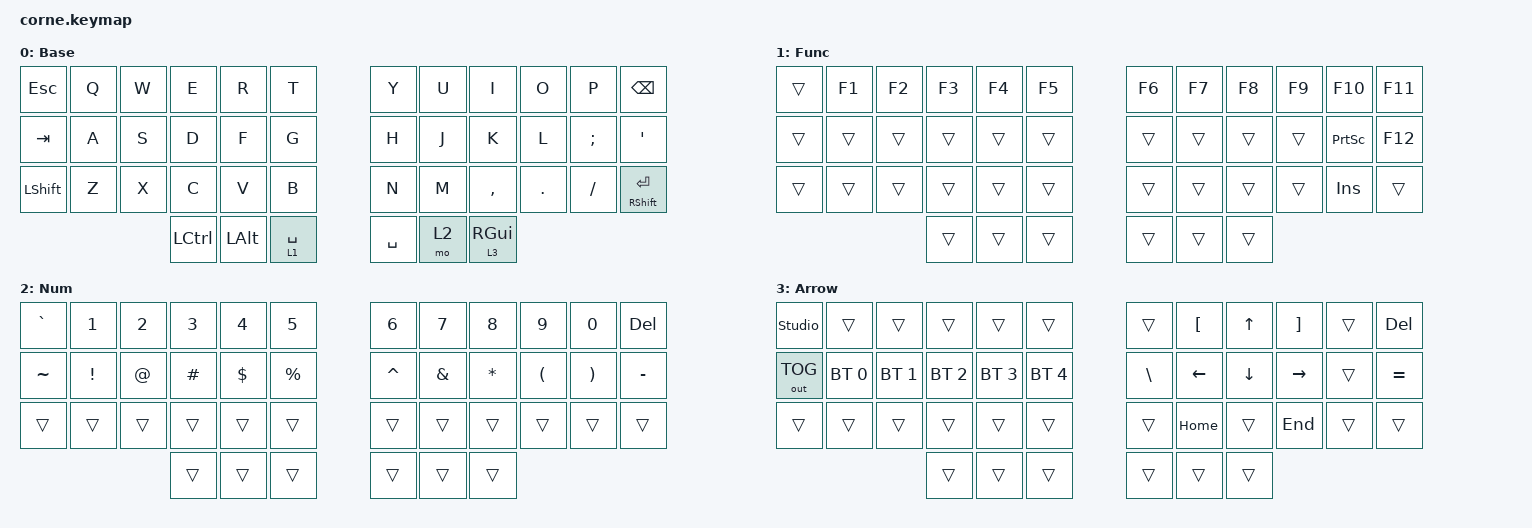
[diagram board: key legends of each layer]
/*
 * Copyright (c) 2020 The ZMK Contributors
 *
 * SPDX-License-Identifier: MIT
 */

#include <behaviors.dtsi>
#include <dt-bindings/zmk/bt.h>
#include <dt-bindings/zmk/keys.h>
#include <dt-bindings/zmk/outputs.h>

&mt {
    tapping-term-ms = <130>; // 200 default
};

&lt {
    tapping-term-ms = <130>; // 200 default
};

/ {
    keymap {
        compatible = "zmk,keymap";

        default_layer {
            // -----------------------------------------------------------------------------------------
            // |  TAB |  Q  |  W  |  E  |  R  |  T  |   |  Y  |  U   |  I  |  O  |  P  | BKSP |
            // | CTRL |  A  |  S  |  D  |  F  |  G  |   |  H  |  J   |  K  |  L  |  ;  |  '   |
            // | SHFT |  Z  |  X  |  C  |  V  |  B  |   |  N  |  M   |  ,  |  .  |  /  | ESC  |
            //                    | GUI | LWR | SPC |   | ENT | RSE  | ALT |

            display-name = "Base";
            bindings = <
&kp ESC    &kp Q  &kp W  &kp E             &kp R         &kp T          &kp Y      &kp U  &kp I            &kp O    &kp P     &kp BSPC
&kp TAB    &kp A  &kp S  &kp D             &kp F         &kp G          &kp H      &kp J  &kp K            &kp L    &kp SEMI  &kp SQT
&kp LSHFT  &kp Z  &kp X  &kp C             &kp V         &kp B          &kp N      &kp M  &kp COMMA        &kp DOT  &kp FSLH  &mt RIGHT_SHIFT ENTER
                         &kp LEFT_CONTROL  &kp LEFT_ALT  &lt 1 SPACE    &kp SPACE  &mo 2  &lt 3 RIGHT_GUI
            >;
        };

        lower_layer {
            // -----------------------------------------------------------------------------------------
            // |  TAB |  1  |  2  |  3  |  4  |  5  |   |  6  |  7  |  8  |  9  |  0  | BKSP |
            // | BTCLR| BT1 | BT2 | BT3 | BT4 | BT5 |   | LFT | DWN |  UP | RGT |     |      |
            // | SHFT |     |     |     |     |     |   |     |     |     |     |     |      |
            //                    | GUI |     | SPC |   | ENT |     | ALT |

            display-name = "Func";
            bindings = <
&trans  &kp F1  &kp F2  &kp F3  &kp F4  &kp F5    &kp F6  &kp F7  &kp F8  &kp F9  &kp F10          &kp F11
&trans  &trans  &trans  &trans  &trans  &trans    &trans  &trans  &trans  &trans  &kp PRINTSCREEN  &kp F12
&trans  &trans  &trans  &trans  &trans  &trans    &trans  &trans  &trans  &trans  &kp INSERT       &trans
                        &trans  &trans  &trans    &trans  &trans  &trans
            >;
        };

        raise_layer {
            // -----------------------------------------------------------------------------------------
            // |  TAB |  !  |  @  |  #  |  $  |  %  |   |  ^  |  &  |  *  |  (  |  )  | BKSP |
            // | CTRL |     |     |     |     |     |   |  -  |  =  |  [  |  ]  |  \  |  `   |
            // | SHFT |     |     |     |     |     |   |  _  |  +  |  {  |  }  | "|" |  ~   |
            //                    | GUI |     | SPC |   | ENT |     | ALT |

            display-name = "Num";
            bindings = <
&kp GRAVE  &kp N1    &kp N2  &kp N3    &kp N4    &kp N5       &kp N6     &kp N7    &kp N8    &kp N9    &kp N0    &kp DELETE
&kp TILDE  &kp EXCL  &kp AT  &kp HASH  &kp DLLR  &kp PRCNT    &kp CARET  &kp AMPS  &kp STAR  &kp LPAR  &kp RPAR  &kp MINUS
&trans     &trans    &trans  &trans    &trans    &trans       &trans     &trans    &trans    &trans    &trans    &trans
                             &trans    &trans    &trans       &trans     &trans    &trans
            >;
        };

        layer_3 {
            display-name = "Arrow";
            bindings = <
&studio_unlock  &trans        &trans        &trans        &trans        &trans          &trans         &kp LEFT_BRACKET  &kp UP_ARROW    &kp RIGHT_BRACKET  &trans  &kp DELETE
&out OUT_TOG    &bt BT_SEL 0  &bt BT_SEL 1  &bt BT_SEL 2  &bt BT_SEL 3  &bt BT_SEL 4    &kp BACKSLASH  &kp LEFT_ARROW    &kp DOWN_ARROW  &kp RIGHT_ARROW    &trans  &kp EQUAL
&trans          &trans        &trans        &trans        &trans        &trans          &trans         &kp HOME          &trans          &kp END            &trans  &trans
                                            &trans        &trans        &trans          &trans         &trans            &trans
            >;
        };
    };
};
